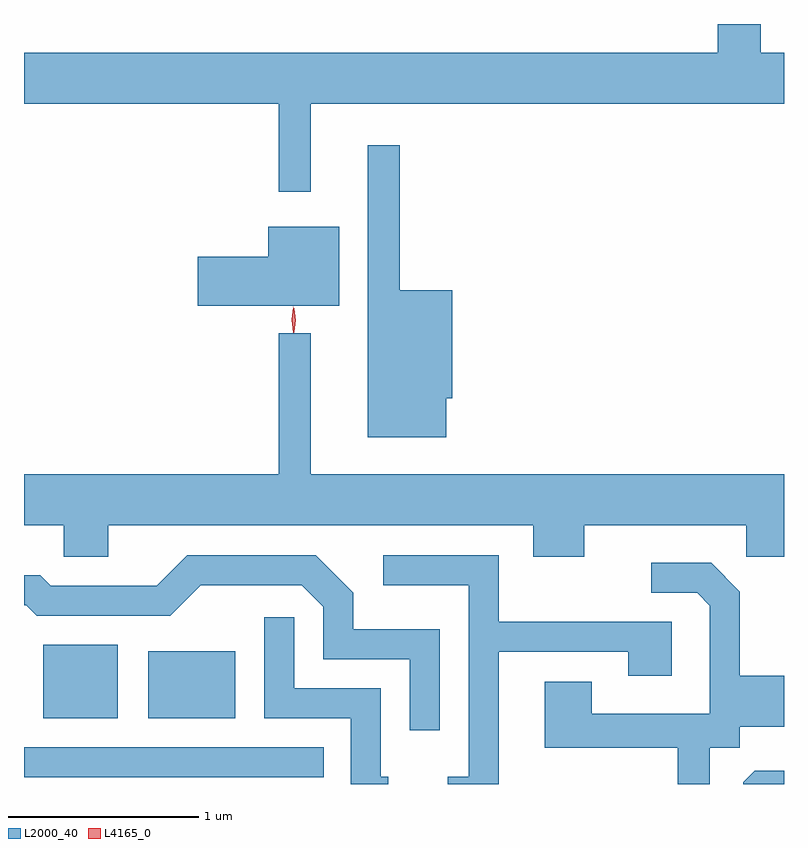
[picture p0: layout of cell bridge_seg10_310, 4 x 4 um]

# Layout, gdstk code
import gdstk
lib = gdstk.Library(unit=1e-6, precision=1e-09)
def R(c, l, rs):  # rectangles x0, y0, x1, y1
    for r in rs: c.add(gdstk.rectangle(r[:2], r[2:], *l))
def P(c, l, *ps):  # polygons
    for p in ps: c.add(gdstk.Polygon(p, *l))
L2000_40 = (2000, 40)
L4165_0 = (4165, 0)

bridge_seg10_310 = lib.new_cell('bridge_seg10_310')
R(bridge_seg10_310, L2000_40, [(1385.801,2205.831,1387.378,2205.989), (1385.901,2206.141,1386.294,2206.529), (1386.456,2206.141,1386.914,2206.494)])
P(bridge_seg10_310, L2000_40, [(1387.309,2209.376),(1389.801,2209.376),(1389.801,2209.644),(1389.679,2209.644),(1389.679,2209.795),(1389.451,2209.795),(1389.451,2209.644),(1385.801,2209.644),(1385.801,2209.376),(1387.141,2209.376),(1387.141,2208.913),(1387.309,2208.913)],
  [(1388.024,2207.826),(1388.054,2207.826),(1388.054,2208.394),(1387.779,2208.394),(1387.779,2209.158),(1387.611,2209.158),(1387.611,2207.621),(1388.024,2207.621)],
  [(1387.459,2208.729),(1387.086,2208.729),(1387.086,2208.569),(1386.716,2208.569),(1386.716,2208.311),(1387.459,2208.311)],
  [(1387.141,2208.168),(1387.141,2207.424),(1385.801,2207.424),(1385.801,2207.156),(1386.011,2207.156),(1386.011,2206.991),(1386.244,2206.991),(1386.244,2207.156),(1388.481,2207.156),(1388.481,2206.991),(1388.749,2206.991),(1388.749,2207.156),(1389.601,2207.156),(1389.601,2206.991),(1389.801,2206.991),(1389.801,2207.424),(1387.309,2207.424),(1387.309,2208.168)],
  [(1387.989,2206.609),(1387.534,2206.609),(1387.534,2206.802),(1387.337,2206.999),(1386.659,2206.999),(1386.499,2206.839),(1385.942,2206.839),(1385.887,2206.894),(1385.801,2206.894),(1385.801,2206.736),(1385.814,2206.736),(1385.869,2206.681),(1386.572,2206.681),(1386.732,2206.841),(1387.264,2206.841),(1387.376,2206.729),(1387.376,2206.451),(1387.831,2206.451),(1387.831,2206.078),(1387.989,2206.078)],
  [(1388.299,2206.491),(1388.981,2206.491),(1388.981,2206.366),(1389.209,2206.366),(1389.209,2206.649),(1388.299,2206.649),(1388.299,2206.999),(1387.693,2206.999),(1387.693,2206.841),(1388.141,2206.841),(1388.141,2205.834),(1388.031,2205.834),(1388.031,2205.795),(1388.299,2205.795)],
  [(1389.409,2205.986),(1389.569,2205.986),(1389.569,2206.096),(1389.801,2206.096),(1389.801,2206.364),(1389.569,2206.364),(1389.569,2206.807),(1389.417,2206.959),(1389.103,2206.959),(1389.103,2206.801),(1389.344,2206.801),(1389.411,2206.734),(1389.411,2206.164),(1388.789,2206.164),(1388.789,2206.334),(1388.541,2206.334),(1388.541,2205.986),(1389.241,2205.986),(1389.241,2205.795),(1389.409,2205.795)],
  [(1387.719,2205.834),(1387.679,2205.834),(1387.679,2206.299),(1387.224,2206.299),(1387.224,2206.673),(1387.066,2206.673),(1387.066,2206.141),(1387.521,2206.141),(1387.521,2205.795),(1387.719,2205.795)],
  [(1389.801,2205.864),(1389.647,2205.864),(1389.586,2205.804),(1389.586,2205.795),(1389.801,2205.795)])
P(bridge_seg10_310, L4165_0, [(1387.222,2208.173),(1387.222,2208.173),(1387.212,2208.236),(1387.222,2208.3),(1387.222,2208.3),(1387.223,2208.3),(1387.232,2208.236),(1387.223,2208.173)],
  [(1387.219,2208.17),(1387.209,2208.238),(1387.218,2208.305),(1387.219,2208.306),(1387.219,2208.305),(1387.229,2208.238),(1387.22,2208.17),(1387.22,2208.17)])

lib.write_gds('bridge_seg10_310.gds')
